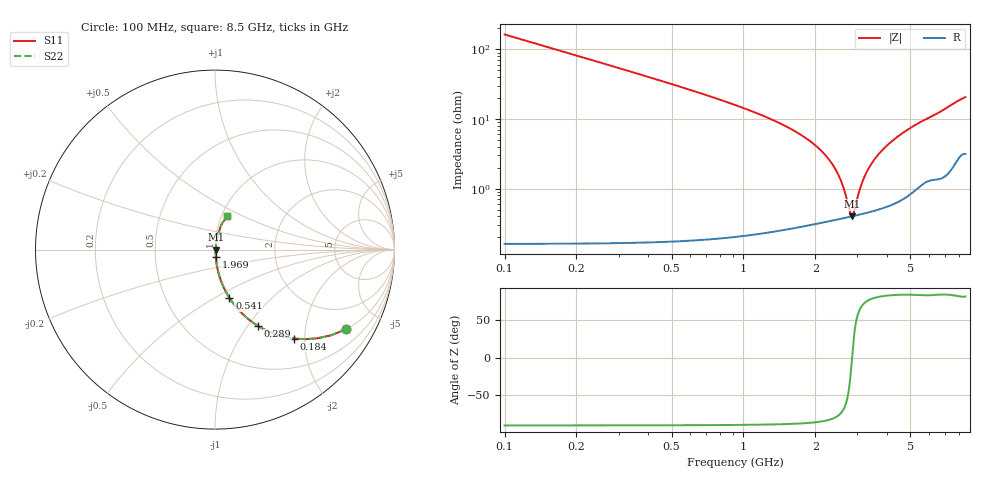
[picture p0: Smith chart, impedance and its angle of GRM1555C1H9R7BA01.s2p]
!Murata Part Number: GRM1555C1H9R7BA01
!These Parameters are Measured in Series Mode Connection
!Data Generated on Mar 30, 2021
!  o--ll--o
!Port1  Port2
!  o------o
!Operation Temp=25[degC], DC Bias Voltage=0[V]
!Freq. Start=100[MHz] Stop=9[GHz] 401[Steps]
# Hz S RI R 50
!Freq.(Hz) S11(Real) S11(Imag) S21(Real) S21(Imag) S12(Real) S12(Imag) S22(Real) S22(Imag)
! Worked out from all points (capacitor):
!   401 points, 100 MHz to 8.5 GHz, reference 50 ohm
!   read as one part in series: C = 9.7 pF near 142 MHz
!   lowest |Z| = 400 mohm at 2.851 GHz (marker M1)
!   series resonance near 2.85 GHz, so ESL is about 320 pH
!   S11 on the Smith chart (normalised r, x): 100 MHz: 1.00, -3.28; 184 MHz: 1.00, -1.78; 289 MHz: 1.00, -1.12; 541 MHz: 1.00, -0.58; 1.969 GHz: 1.01, -0.09; 8.5 GHz: 1.06, +0.41
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1e8  0.7285 -0.4443  0.2715 0.4443  0.2715 0.4443  0.7285 -0.4443
1.84e8  0.441 -0.4956  0.559 0.4956  0.559 0.4956  0.441 -0.4956
2.89e8  0.2406 -0.426  0.7594 0.426  0.7594 0.426  0.2406 -0.426
3.94e8  0.144 -0.349  0.856 0.349  0.856 0.349  0.144 -0.349
5.41e8  0.0801 -0.2684  0.9199 0.2684  0.9199 0.2684  0.0801 -0.2684
9.19e8  0.0268 -0.1553  0.9732 0.1553  0.9732 0.1553  0.0268 -0.1553
1.507e9  0.00864 -0.0776  0.9914 0.0776  0.9914 0.0776  0.00864 -0.0776
1.969e9  0.00494 -0.0433  0.9951 0.0433  0.9951 0.0433  0.00494 -0.0433
2.242e9  0.00412 -0.0278  0.9959 0.0278  0.9959 0.0278  0.00412 -0.0278
2.452e9  0.00386 -0.0174  0.9961 0.0174  0.9961 0.0174  0.00386 -0.0174
2.62e9  0.00383 -0.00972  0.9962 0.00972  0.9962 0.00972  0.00383 -0.00972
2.788e9  0.00392 -0.00254  0.9961 0.00254  0.9961 0.00254  0.00392 -0.00254
2.851e9  0.00399 4.59e-05  0.996 -4.59e-05  0.996 -4.59e-05  0.00399 4.59e-05
2.914e9  0.00406 0.00258  0.9959 -0.00258  0.9959 -0.00258  0.00406 0.00258
3.124e9  0.0044 0.0107  0.9956 -0.0107  0.9956 -0.0107  0.0044 0.0107
3.376e9  0.00498 0.0199  0.995 -0.0199  0.995 -0.0199  0.00498 0.0199
3.754e9  0.00617 0.0329  0.9938 -0.0329  0.9938 -0.0329  0.00617 0.0329
4.3e9  0.00863 0.0507  0.9914 -0.0507  0.9914 -0.0507  0.00863 0.0507
4.951e9  0.0131 0.0709  0.9869 -0.0709  0.9869 -0.0709  0.0131 0.0709
5.707e9  0.0205 0.0924  0.9795 -0.0924  0.9795 -0.0924  0.0205 0.0924
7.114e9  0.0351 0.1373  0.9649 -0.1373  0.9649 -0.1373  0.0351 0.1373
8.5e9  0.067 0.1848  0.933 -0.1848  0.933 -0.1848  0.067 0.1848
